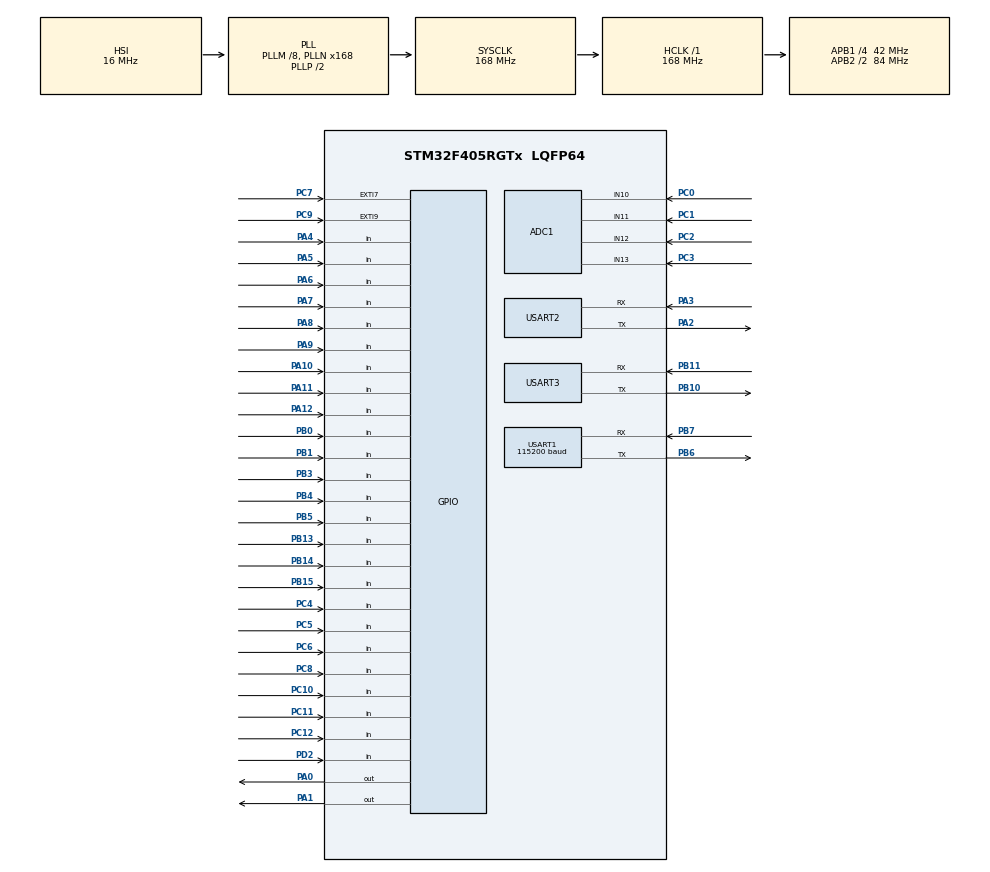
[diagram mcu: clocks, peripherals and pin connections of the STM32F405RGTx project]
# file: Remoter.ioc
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ADC1.Channel-0\#ChannelRegularConversion=ADC_CHANNEL_10
ADC1.Channel-1\#ChannelRegularConversion=ADC_CHANNEL_11
ADC1.Channel-2\#ChannelRegularConversion=ADC_CHANNEL_12
ADC1.Channel-3\#ChannelRegularConversion=ADC_CHANNEL_13
ADC1.ContinuousConvMode=ENABLE
ADC1.DMAContinuousRequests=ENABLE
ADC1.InjNumberOfConversion=0
ADC1.NbrOfConversion=4
ADC1.NbrOfConversionFlag=1
ADC1.Rank-0\#ChannelRegularConversion=1
ADC1.Rank-1\#ChannelRegularConversion=2
ADC1.Rank-2\#ChannelRegularConversion=3
ADC1.Rank-3\#ChannelRegularConversion=4
ADC1.SamplingTime-0\#ChannelRegularConversion=ADC_SAMPLETIME_15CYCLES
ADC1.SamplingTime-1\#ChannelRegularConversion=ADC_SAMPLETIME_15CYCLES
ADC1.SamplingTime-2\#ChannelRegularConversion=ADC_SAMPLETIME_15CYCLES
ADC1.SamplingTime-3\#ChannelRegularConversion=ADC_SAMPLETIME_15CYCLES
ADC1.ScanConvMode=ENABLE
ADC1.master=1
Dma.ADC1.0.Direction=DMA_PERIPH_TO_MEMORY
Dma.ADC1.0.FIFOMode=DMA_FIFOMODE_DISABLE
Dma.ADC1.0.Instance=DMA2_Stream0
Dma.ADC1.0.MemDataAlignment=DMA_MDATAALIGN_HALFWORD
Dma.ADC1.0.MemInc=DMA_MINC_ENABLE
Dma.ADC1.0.Mode=DMA_NORMAL
Dma.ADC1.0.PeriphDataAlignment=DMA_PDATAALIGN_HALFWORD
Dma.ADC1.0.PeriphInc=DMA_PINC_DISABLE
Dma.ADC1.0.Priority=DMA_PRIORITY_LOW
Dma.Request0=ADC1
Mcu.Family=STM32F4
Mcu.Name=STM32F405RGTx
Mcu.Package=LQFP64
NVIC.DMA2_Stream0_IRQn=true\:0\:0\:false\:false\:true\:false\:true\:true
NVIC.EXTI9_5_IRQn=true\:0\:0\:false\:false\:true\:true\:true\:true
NVIC.PriorityGroup=NVIC_PRIORITYGROUP_4
NVIC.TIM2_IRQn=true\:0\:0\:false\:false\:true\:true\:true\:true
PA0-WKUP.Signal=GPIO_Output
PA1.Signal=GPIO_Output
PA10.Signal=GPIO_Input
PA11.Signal=GPIO_Input
PA12.Signal=GPIO_Input
PA13.Mode=Serial_Wire
PA13.Signal=SYS_JTMS-SWDIO
PA14.Mode=Serial_Wire
PA14.Signal=SYS_JTCK-SWCLK
PA2.Mode=Asynchronous
PA2.Signal=USART2_TX
PA3.Mode=Asynchronous
PA3.Signal=USART2_RX
PA4.Signal=GPIO_Input
PA5.Signal=GPIO_Input
PA6.Signal=GPIO_Input
PA7.Signal=GPIO_Input
PA8.Signal=GPIO_Input
PA9.Signal=GPIO_Input
PB0.Signal=GPIO_Input
PB1.Signal=GPIO_Input
PB10.Mode=Asynchronous
PB10.Signal=USART3_TX
PB11.Mode=Asynchronous
PB11.Signal=USART3_RX
PB13.Signal=GPIO_Input
PB14.Signal=GPIO_Input
PB15.Signal=GPIO_Input
PB3.Signal=GPIO_Input
PB4.Signal=GPIO_Input
PB5.Signal=GPIO_Input
PB6.Mode=Asynchronous
PB6.Signal=USART1_TX
PB7.Mode=Asynchronous
PB7.Signal=USART1_RX
PC0.Signal=ADCx_IN10
PC1.Signal=ADCx_IN11
PC10.Signal=GPIO_Input
PC11.Signal=GPIO_Input
PC12.Signal=GPIO_Input
PC2.Signal=ADCx_IN12
PC3.Signal=ADCx_IN13
PC4.Signal=GPIO_Input
PC5.Signal=GPIO_Input
PC6.Signal=GPIO_Input
PC7.Signal=GPXTI7
PC8.Signal=GPIO_Input
PC9.Signal=GPXTI9
PD2.Signal=GPIO_Input
PH0-OSC_IN.Mode=HSE-External-Oscillator
PH0-OSC_IN.Signal=RCC_OSC_IN
PH1-OSC_OUT.Mode=HSE-External-Oscillator
PH1-OSC_OUT.Signal=RCC_OSC_OUT
ProjectManager.HeapSize=0x200
ProjectManager.StackSize=0x400
ProjectManager.TargetToolchain=MDK-ARM V5.32
RCC.48MHZClocksFreq_Value=84000000
RCC.AHBFreq_Value=168000000
RCC.APB1CLKDivider=RCC_HCLK_DIV4
RCC.APB1Freq_Value=42000000
RCC.APB1TimFreq_Value=84000000
RCC.APB2CLKDivider=RCC_HCLK_DIV2
RCC.APB2Freq_Value=84000000
RCC.APB2TimFreq_Value=168000000
RCC.CortexFreq_Value=168000000
RCC.HCLKFreq_Value=168000000
RCC.HSE_VALUE=25000000
RCC.HSICalibrationValue=25
RCC.HSI_VALUE=16000000
RCC.LSE_VALUE=32768
RCC.PLLM=8
RCC.PLLN=168
RCC.SYSCLKFreq_VALUE=168000000
RCC.SYSCLKSource=RCC_SYSCLKSOURCE_PLLCLK
RCC.VCOOutputFreq_Value=336000000
SH.ADCx_IN10.0=ADC1_IN10,IN10
SH.ADCx_IN11.0=ADC1_IN11,IN11
SH.ADCx_IN12.0=ADC1_IN12,IN12
SH.ADCx_IN13.0=ADC1_IN13,IN13
TIM2.Period=999
TIM2.Prescaler=167
USART1.BaudRate=115200
USART1.Parity=PARITY_NONE
USART1.VirtualMode=VM_ASYNC
USART1.WordLength=WORDLENGTH_8B
USART2.VirtualMode=VM_ASYNC
USART3.VirtualMode=VM_ASYNC
VP_TIM2_VS_ClockSourceINT.Mode=Internal
board=custom

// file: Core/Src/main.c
/* USER CODE BEGIN Header */
/**
  ******************************************************************************
  * @file           : main.c
  * @brief          : Main program body
  ******************************************************************************
  * @attention
  *
  * Copyright (c) 2024 STMicroelectronics.
  * All rights reserved.
  *
  * This software is licensed under terms that can be found in the LICENSE file
  * in the root directory of this software component.
  * If no LICENSE file comes with this software, it is provided AS-IS.
  *
  ******************************************************************************
  */
/* USER CODE END Header */
#include "main.h"
#include "adc.h"
#include "dma.h"
#include "tim.h"
#include "usart.h"
#include "gpio.h"

/* USER CODE BEGIN Includes */
#include "Ctrl.h"
#include "Calculate.h"
/* USER CODE END Includes */

/* USER CODE BEGIN PTD */
int count=0;
int init=0;
DataPacket packet;
/* USER CODE END PTD */

void SystemClock_Config(void);

/* USER CODE BEGIN 0 */
int WatchA;
uint8_t WatchB;
uint16_t WatchC;
uint8_t WatchD;
uint8_t Watch1;
uint8_t Watch2;
uint8_t Watch3;
uint8_t Watch4;
uint8_t Watch5;
uint8_t Watch6;
uint8_t Watch7;
uint8_t Watch8;
uint8_t Watch9;
uint8_t Watch10;

/* USER CODE END 0 */

int main(void)
{

  /* MCU Configuration--------------------------------------------------------*/

  /* Reset of all peripherals, Initializes the Flash interface and the Systick. */
  HAL_Init();

  /* Configure the system clock */
  SystemClock_Config();

  /* Initialize all configured peripherals */
  MX_GPIO_Init();
  MX_DMA_Init();
  MX_TIM2_Init();
  MX_ADC1_Init();
  MX_USART1_UART_Init();
  MX_USART2_UART_Init();
  MX_USART3_UART_Init();
  /* USER CODE BEGIN 2 */
	HAL_ADC_Start(&hadc1);
	HAL_ADC_PollForConversion(&hadc1, 20);
	HAL_TIM_Base_Start_IT(&htim2);

	while(init!=200)
	{
		if(ADC1_Flag==1)
	  {
			init_ADC_data();
			HAL_ADC_Start_DMA(&hadc1,(uint32_t *)ADC_Value,BIT);
			HAL_Delay(1);
			init++;
		}
	}
  /* USER CODE END 2 */

  /* Infinite loop */
  while (1)
  {

  }
}

void SystemClock_Config(void)
{
  RCC_OscInitTypeDef RCC_OscInitStruct = {0};
  RCC_ClkInitTypeDef RCC_ClkInitStruct = {0};

  /** Configure the main internal regulator output voltage
  */
  __HAL_RCC_PWR_CLK_ENABLE();
  __HAL_PWR_VOLTAGESCALING_CONFIG(PWR_REGULATOR_VOLTAGE_SCALE1);

  /** Initializes the RCC Oscillators according to the specified parameters
  * in the RCC_OscInitTypeDef structure.
  */
  RCC_OscInitStruct.OscillatorType = RCC_OSCILLATORTYPE_HSI;
  RCC_OscInitStruct.HSIState = RCC_HSI_ON;
  RCC_OscInitStruct.HSICalibrationValue = 25;
  RCC_OscInitStruct.PLL.PLLState = RCC_PLL_ON;
  RCC_OscInitStruct.PLL.PLLSource = RCC_PLLSOURCE_HSI;
  RCC_OscInitStruct.PLL.PLLM = 8;
  RCC_OscInitStruct.PLL.PLLN = 168;
  RCC_OscInitStruct.PLL.PLLP = RCC_PLLP_DIV2;
  RCC_OscInitStruct.PLL.PLLQ = 4;
  if (HAL_RCC_OscConfig(&RCC_OscInitStruct) != HAL_OK)
  {
    Error_Handler();
  }

  /** Initializes the CPU, AHB and APB buses clocks
  */
  RCC_ClkInitStruct.ClockType = RCC_CLOCKTYPE_HCLK|RCC_CLOCKTYPE_SYSCLK
                              |RCC_CLOCKTYPE_PCLK1|RCC_CLOCKTYPE_PCLK2;
  RCC_ClkInitStruct.SYSCLKSource = RCC_SYSCLKSOURCE_PLLCLK;
  RCC_ClkInitStruct.AHBCLKDivider = RCC_SYSCLK_DIV1;
  RCC_ClkInitStruct.APB1CLKDivider = RCC_HCLK_DIV4;
  RCC_ClkInitStruct.APB2CLKDivider = RCC_HCLK_DIV2;

  if (HAL_RCC_ClockConfig(&RCC_ClkInitStruct, FLASH_LATENCY_5) != HAL_OK)
  {
    Error_Handler();
  }
}

/* USER CODE BEGIN 4 */

void HAL_TIM_PeriodElapsedCallback(TIM_HandleTypeDef *htim)
{
	if(htim->Instance == htim2.Instance)
	{
		WatchA=BOTTOM_5;
		WatchB=TXData[BUTTON_PACKET];
		WatchC=TXData[RX_LSB]+TXData[RX_MSB]*256;
		WatchD=TXData[SWITCH_PACKET];
		Update_BOTTOM();
		Update_ADC();
		if(count++>=1000){
		HAL_GPIO_TogglePin(GPIOA,GPIO_PIN_0);
		count=0;
		}
		HAL_ADC_Start_DMA(&hadc1,(uint32_t *)ADC_Value,BIT);
		packData(&packet, TXData, sizeof(TXData));
		Watch1=packet.header;
		Watch2=packet.parity;
		Watch3=packet.data[0];
		Watch4=packet.data[1];
		Watch5=packet.data[2];
		Watch6=packet.data[3];
		Watch7=packet.data[4];
		Watch8=packet.data[5];
		Watch9=packet.data[6];
		Watch10=packet.data[7];
		HAL_UART_Transmit_DMA(&huart1, (uint8_t*)&packet, sizeof(packet));

	}
}
/* USER CODE END 4 */

void Error_Handler(void)
{
  __disable_irq();
  while (1)
  {
  }
}
